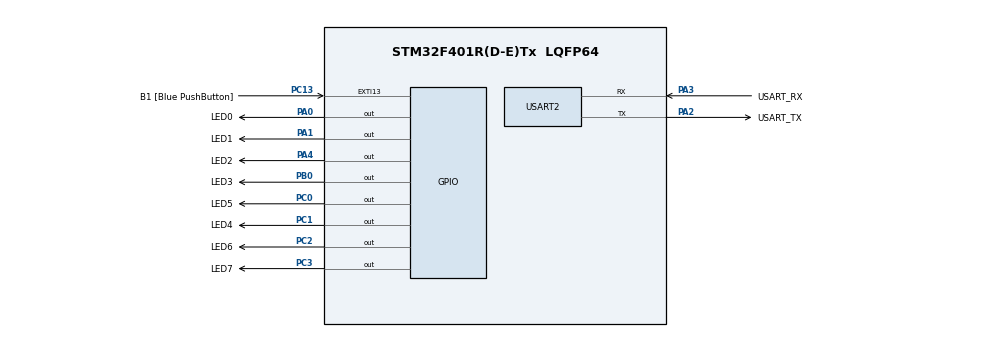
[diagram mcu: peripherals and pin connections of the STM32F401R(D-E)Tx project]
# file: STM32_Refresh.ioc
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Mcu.Family=STM32F4
Mcu.Name=STM32F401R(D-E)Tx
Mcu.Package=LQFP64
NVIC.PriorityGroup=NVIC_PRIORITYGROUP_4
PA0-WKUP.GPIO_Label=LED0
PA0-WKUP.PinState=GPIO_PIN_RESET
PA0-WKUP.Signal=GPIO_Output
PA1.GPIO_Label=LED1
PA1.PinState=GPIO_PIN_RESET
PA1.Signal=GPIO_Output
PA13.GPIO_Label=TMS
PA13.Mode=Trace_Asynchronous_SW
PA13.Signal=SYS_JTMS-SWDIO
PA14.GPIO_Label=TCK
PA14.Mode=Trace_Asynchronous_SW
PA14.Signal=SYS_JTCK-SWCLK
PA2.GPIO_Label=USART_TX
PA2.GPIO_Mode=GPIO_MODE_AF_PP
PA2.GPIO_PuPd=GPIO_NOPULL
PA2.GPIO_Speed=GPIO_SPEED_FREQ_LOW
PA2.Mode=Asynchronous
PA2.Signal=USART2_TX
PA3.GPIO_Label=USART_RX
PA3.GPIO_Mode=GPIO_MODE_AF_PP
PA3.GPIO_PuPd=GPIO_NOPULL
PA3.GPIO_Speed=GPIO_SPEED_FREQ_LOW
PA3.Mode=Asynchronous
PA3.Signal=USART2_RX
PA4.GPIO_Label=LED2
PA4.PinState=GPIO_PIN_RESET
PA4.Signal=GPIO_Output
PB0.GPIO_Label=LED3
PB0.PinState=GPIO_PIN_RESET
PB0.Signal=GPIO_Output
PB3.GPIO_Label=SWO
PB3.Mode=Trace_Asynchronous_SW
PB3.Signal=SYS_JTDO-SWO
PC0.GPIO_Label=LED5
PC0.PinState=GPIO_PIN_RESET
PC0.Signal=GPIO_Output
PC1.GPIO_Label=LED4
PC1.PinState=GPIO_PIN_RESET
PC1.Signal=GPIO_Output
PC13-ANTI_TAMP.GPIO_Label=B1 [Blue PushButton]
PC13-ANTI_TAMP.GPIO_ModeDefaultEXTI=GPIO_MODE_IT_FALLING
PC13-ANTI_TAMP.GPIO_PuPd=GPIO_NOPULL
PC13-ANTI_TAMP.Signal=GPXTI13
PC14-OSC32_IN.Mode=LSE-External-Oscillator
PC14-OSC32_IN.Signal=RCC_OSC32_IN
PC15-OSC32_OUT.Mode=LSE-External-Oscillator
PC15-OSC32_OUT.Signal=RCC_OSC32_OUT
PC2.GPIO_Label=LED6
PC2.PinState=GPIO_PIN_RESET
PC2.Signal=GPIO_Output
PC3.GPIO_Label=LED7
PC3.PinState=GPIO_PIN_RESET
PC3.Signal=GPIO_Output
PH0\ -\ OSC_IN.Mode=HSE-External-Clock-Source
PH0\ -\ OSC_IN.Signal=RCC_OSC_IN
PH1\ -\ OSC_OUT.Mode=HSE-External-Clock-Source
PH1\ -\ OSC_OUT.Signal=RCC_OSC_OUT
ProjectManager.HeapSize=0x200
ProjectManager.StackSize=0x400
ProjectManager.TargetToolchain=CMake
RCC.48MHZClocksFreq_Value=48000000
RCC.AHBFreq_Value=84000000
RCC.APB1CLKDivider=RCC_HCLK_DIV2
RCC.APB1Freq_Value=42000000
RCC.APB1TimFreq_Value=84000000
RCC.APB2Freq_Value=84000000
RCC.APB2TimFreq_Value=84000000
RCC.CortexFreq_Value=84000000
RCC.HCLKFreq_Value=84000000
RCC.HSE_VALUE=8000000
RCC.HSI_VALUE=16000000
RCC.PLLN=336
RCC.PLLP=RCC_PLLP_DIV4
RCC.PLLQ=7
RCC.SYSCLKFreq_VALUE=84000000
RCC.SYSCLKSource=RCC_SYSCLKSOURCE_PLLCLK
RCC.VCOOutputFreq_Value=336000000
USART2.VirtualMode=VM_ASYNC
board=NUCLEO-F401RE

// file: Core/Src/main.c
/* USER CODE BEGIN Header */
/**
  ******************************************************************************
  * @file           : main.c
  * @brief          : Main program body
  ******************************************************************************
  * @attention
  *
  * Copyright (c) 2026 STMicroelectronics.
  * All rights reserved.
  *
  * This software is licensed under terms that can be found in the LICENSE file
  * in the root directory of this software component.
  * If no LICENSE file comes with this software, it is provided AS-IS.
  *
  ******************************************************************************
  */
/* USER CODE END Header */
#include "main.h"
#include "usart.h"
#include "gpio.h"

/* USER CODE BEGIN Includes */
#include <stdlib.h>
#include <stdio.h>
/* USER CODE END Includes */

/* USER CODE BEGIN PTD */
typedef struct LED_Node {
    GPIO_TypeDef *GPIO_node;
    unsigned int Pin_node;
    struct LED_Node *next;
} LED_Node;

static void createNode();

/* USER CODE END PTD */

static void SystemClock_Config(void);

/* USER CODE BEGIN 0 */
static volatile uint32_t heartbeat_count = 0;
static LED_Node *led_list[8];
static LED_Node *current_led;
/* USER CODE END 0 */

int main(void) {

    /* MCU Configuration--------------------------------------------------------*/

    /* Reset of all peripherals, Initializes the Flash interface and the Systick. */
    LL_APB2_GRP1_EnableClock(LL_APB2_GRP1_PERIPH_SYSCFG);
    LL_APB1_GRP1_EnableClock(LL_APB1_GRP1_PERIPH_PWR);

    /* System interrupt init*/
    NVIC_SetPriorityGrouping(NVIC_PRIORITYGROUP_4);

    /* Configure the system clock */
    SystemClock_Config();

    /* Initialize all configured peripherals */
    MX_GPIO_Init();
    MX_USART2_UART_Init();
    /* USER CODE BEGIN 2 */
    createNode();
    current_led = led_list[0];
    LL_GPIO_SetOutputPin(current_led->GPIO_node, current_led->Pin_node);
    LL_mDelay(500);
    /* USER CODE END 2 */

    /* Infinite loop */
    /* USER CODE BEGIN WHILE */
    while (1) {
        LL_GPIO_TogglePin(current_led->GPIO_node, current_led->Pin_node);
        current_led = current_led->next;
        LL_GPIO_TogglePin(current_led->GPIO_node, current_led->Pin_node);
        ++heartbeat_count;
        LL_mDelay(500);
        /* USER CODE END WHILE */

    }
}

void SystemClock_Config(void) {
    LL_FLASH_SetLatency(LL_FLASH_LATENCY_2);
    while (LL_FLASH_GetLatency() != LL_FLASH_LATENCY_2) {
    }
    LL_PWR_SetRegulVoltageScaling(LL_PWR_REGU_VOLTAGE_SCALE2);
    LL_RCC_HSI_SetCalibTrimming(16);
    LL_RCC_HSI_Enable();

    /* Wait till HSI is ready */
    while (LL_RCC_HSI_IsReady() != 1) {
    }
    LL_RCC_PLL_ConfigDomain_SYS(LL_RCC_PLLSOURCE_HSI, LL_RCC_PLLM_DIV_16, 336, LL_RCC_PLLP_DIV_4);
    LL_RCC_PLL_Enable();

    /* Wait till PLL is ready */
    while (LL_RCC_PLL_IsReady() != 1) {
    }
    while (LL_PWR_IsActiveFlag_VOS() == 0) {
    }
    LL_RCC_SetAHBPrescaler(LL_RCC_SYSCLK_DIV_1);
    LL_RCC_SetAPB1Prescaler(LL_RCC_APB1_DIV_2);
    LL_RCC_SetAPB2Prescaler(LL_RCC_APB2_DIV_1);
    LL_RCC_SetSysClkSource(LL_RCC_SYS_CLKSOURCE_PLL);

    /* Wait till System clock is ready */
    while (LL_RCC_GetSysClkSource() != LL_RCC_SYS_CLKSOURCE_STATUS_PLL) {
    }
    LL_Init1msTick(84000000);
    LL_SetSystemCoreClock(84000000);
    LL_RCC_SetTIMPrescaler(LL_RCC_TIM_PRESCALER_TWICE);
}

/* USER CODE BEGIN 4 */
static void createNode() {
    for (uint32_t i = 0; i < 8; ++i) {
        led_list[i] = (LED_Node *) malloc(sizeof(LED_Node));
        if (led_list[i] == NULL) {
            Error_Handler();
            return;
        }
    }
    led_list[0]->GPIO_node = LED0_GPIO_Port;
    led_list[0]->Pin_node = LED0_Pin;
    led_list[0]->next = led_list[1];
    //
    led_list[1]->GPIO_node = LED1_GPIO_Port;
    led_list[1]->Pin_node = LED1_Pin;
    led_list[1]->next = led_list[2];

    led_list[2]->GPIO_node = LED2_GPIO_Port;
    led_list[2]->Pin_node = LED2_Pin;
    led_list[2]->next = led_list[3];

    led_list[3]->GPIO_node = LED3_GPIO_Port;
    led_list[3]->Pin_node = LED3_Pin;
    led_list[3]->next = led_list[4];

    led_list[4]->GPIO_node = LED4_GPIO_Port;
    led_list[4]->Pin_node = LED4_Pin;
    led_list[4]->next = led_list[5];

    led_list[5]->GPIO_node = LED5_GPIO_Port;
    led_list[5]->Pin_node = LED5_Pin;
    led_list[5]->next = led_list[6];

    led_list[6]->GPIO_node = LED6_GPIO_Port;
    led_list[6]->Pin_node = LED6_Pin;
    led_list[6]->next = led_list[7];

    led_list[7]->GPIO_node = LED7_GPIO_Port;
    led_list[7]->Pin_node = LED7_Pin;
    led_list[7]->next = led_list[0];
}

/* USER CODE END 4 */

void Error_Handler(void) {
    __disable_irq();
    while (1) {
    }
}
